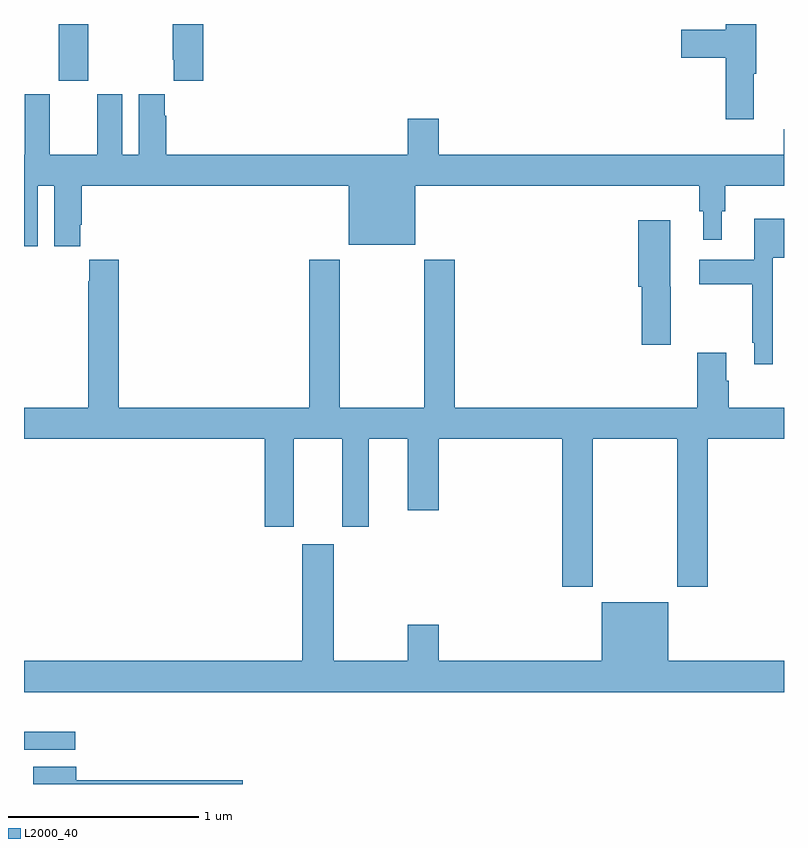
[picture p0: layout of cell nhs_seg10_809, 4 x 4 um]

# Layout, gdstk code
import gdstk
lib = gdstk.Library(unit=1e-6, precision=1e-09)
def R(c, l, rs):  # rectangles x0, y0, x1, y1
    for r in rs: c.add(gdstk.rectangle(r[:2], r[2:], *l))
def P(c, l, *ps):  # polygons
    for p in ps: c.add(gdstk.Polygon(p, *l))
L2000_40 = (2000, 40)

nhs_seg10_809 = lib.new_cell('nhs_seg10_809')
R(nhs_seg10_809, L2000_40, [(151,1298.679,151.27,1298.775), (151.183,1302.201,151.338,1302.5)])
P(nhs_seg10_809, L2000_40, [(151.943,1302.5),(151.783,1302.5),(151.783,1302.313),(151.787,1302.313),(151.787,1302.201),(151.943,1302.201)],
  [(154.84,1302.239),(154.854,1302.239),(154.854,1302.5),(154.694,1302.5),(154.694,1302.47),(154.458,1302.47),(154.458,1302.323),(154.694,1302.323),(154.694,1302),(154.84,1302)],
  [(151.072,1301.648),(151.16,1301.648),(151.16,1301.331),(151.297,1301.331),(151.297,1301.443),(151.304,1301.443),(151.304,1301.648),(152.708,1301.648),(152.708,1301.339),(153.058,1301.339),(153.058,1301.648),(154.555,1301.648),(154.555,1301.514),(154.574,1301.514),(154.574,1301.364),(154.672,1301.364),(154.672,1301.514),(154.691,1301.514),(154.691,1301.648),(155,1301.648),(155,1301.946),(154.999,1301.946),(154.999,1301.812),(153.184,1301.812),(153.184,1302.001),(153.02,1302.001),(153.02,1301.812),(151.748,1301.812),(151.748,1302.017),(151.741,1302.017),(151.741,1302.13),(151.604,1302.13),(151.604,1301.812),(151.516,1301.812),(151.516,1302.13),(151.385,1302.13),(151.385,1301.812),(151.135,1301.812),(151.135,1302.13),(151.004,1302.13),(151.004,1301.812),(151,1301.812),(151,1301.331),(151.072,1301.331)],
  [(154.941,1301.27),(155,1301.27),(155,1301.476),(154.844,1301.476),(154.844,1301.26),(154.554,1301.26),(154.554,1301.131),(154.833,1301.131),(154.833,1300.822),(154.844,1300.822),(154.844,1300.71),(154.941,1300.71)],
  [(154.404,1301.118),(154.402,1301.118),(154.402,1301.467),(154.232,1301.467),(154.232,1301.118),(154.25,1301.118),(154.25,1300.812),(154.404,1300.812)],
  [(154.544,1300.771),(154.544,1300.48),(153.266,1300.48),(153.266,1301.26),(153.106,1301.26),(153.106,1300.48),(152.661,1300.48),(152.661,1301.26),(152.501,1301.26),(152.501,1300.48),(151.499,1300.48),(151.499,1301.26),(151.343,1301.26),(151.343,1301.147),(151.339,1301.147),(151.339,1300.48),(151,1300.48),(151,1300.316),(152.267,1300.316),(152.267,1299.855),(152.419,1299.855),(152.419,1300.316),(152.675,1300.316),(152.675,1299.855),(152.815,1299.855),(152.815,1300.316),(153.02,1300.316),(153.02,1299.942),(153.184,1299.942),(153.184,1300.316),(153.833,1300.316),(153.833,1299.537),(153.993,1299.537),(153.993,1300.316),(154.438,1300.316),(154.438,1299.537),(154.598,1299.537),(154.598,1300.316),(155,1300.316),(155,1300.48),(154.709,1300.48),(154.709,1300.622),(154.696,1300.622),(154.696,1300.771)],
  [(155,1299.148),(154.39,1299.148),(154.39,1299.457),(154.04,1299.457),(154.04,1299.148),(153.184,1299.148),(153.184,1299.337),(153.02,1299.337),(153.02,1299.148),(152.629,1299.148),(152.629,1299.763),(152.465,1299.763),(152.465,1299.148),(151,1299.148),(151,1298.984),(155,1298.984)],
  [(152.152,1298.521),(151.276,1298.521),(151.276,1298.59),(151.049,1298.59),(151.049,1298.5),(152.152,1298.5)])

lib.write_gds('nhs_seg10_809.gds')
